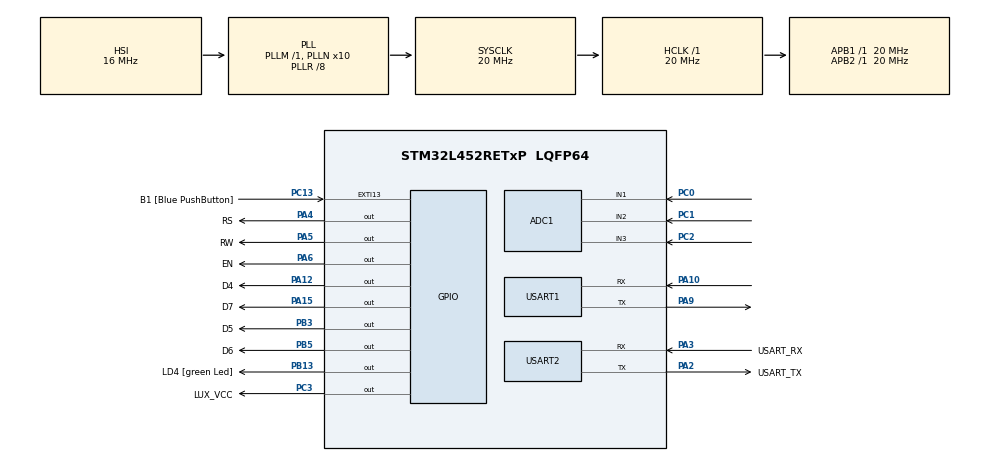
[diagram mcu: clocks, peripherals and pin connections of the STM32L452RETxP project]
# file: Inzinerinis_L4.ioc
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ADC1.Channel-0\#ChannelRegularConversion=ADC_CHANNEL_1
ADC1.Channel-3\#ChannelRegularConversion=ADC_CHANNEL_2
ADC1.Channel-4\#ChannelRegularConversion=ADC_CHANNEL_3
ADC1.DMAContinuousRequests=ENABLE
ADC1.EOCSelection=ADC_EOC_SEQ_CONV
ADC1.ExternalTrigConv=ADC_EXTERNALTRIG_T6_TRGO
ADC1.ExternalTrigConvEdge=ADC_EXTERNALTRIGCONVEDGE_RISING
ADC1.NbrOfConversion=3
ADC1.NbrOfConversionFlag=1
ADC1.OffsetNumber-0\#ChannelRegularConversion=ADC_OFFSET_NONE
ADC1.OffsetNumber-3\#ChannelRegularConversion=ADC_OFFSET_NONE
ADC1.OffsetNumber-4\#ChannelRegularConversion=ADC_OFFSET_NONE
ADC1.Overrun=ADC_OVR_DATA_OVERWRITTEN
ADC1.Rank-0\#ChannelRegularConversion=1
ADC1.Rank-3\#ChannelRegularConversion=2
ADC1.Rank-4\#ChannelRegularConversion=3
ADC1.SamplingTime-0\#ChannelRegularConversion=ADC_SAMPLETIME_12CYCLES_5
ADC1.SamplingTime-3\#ChannelRegularConversion=ADC_SAMPLETIME_12CYCLES_5
ADC1.SamplingTime-4\#ChannelRegularConversion=ADC_SAMPLETIME_12CYCLES_5
ADC1.master=1
Dma.ADC1.0.Direction=DMA_PERIPH_TO_MEMORY
Dma.ADC1.0.Instance=DMA1_Channel1
Dma.ADC1.0.MemDataAlignment=DMA_MDATAALIGN_HALFWORD
Dma.ADC1.0.MemInc=DMA_MINC_ENABLE
Dma.ADC1.0.Mode=DMA_CIRCULAR
Dma.ADC1.0.PeriphDataAlignment=DMA_PDATAALIGN_HALFWORD
Dma.ADC1.0.PeriphInc=DMA_PINC_DISABLE
Dma.ADC1.0.Priority=DMA_PRIORITY_LOW
Dma.Request0=ADC1
Mcu.Family=STM32L4
Mcu.Name=STM32L452RETxP
Mcu.Package=LQFP64
NVIC.ADC1_IRQn=true\:2\:0\:true\:false\:true\:true\:true\:true
NVIC.DMA1_Channel1_IRQn=true\:0\:0\:false\:false\:true\:false\:true\:true
NVIC.EXTI15_10_IRQn=true\:1\:0\:true\:false\:true\:true\:true\:true
NVIC.PriorityGroup=NVIC_PRIORITYGROUP_4
NVIC.TIM1_BRK_TIM15_IRQn=true\:2\:0\:true\:false\:true\:true\:true\:true
NVIC.USART1_IRQn=true\:0\:0\:false\:false\:true\:true\:true\:true
NVIC.USART2_IRQn=true\:0\:0\:false\:false\:true\:true\:true\:true
PA10.Mode=Asynchronous
PA10.Signal=USART1_RX
PA12.GPIO_Label=D4
PA12.GPIO_Speed=GPIO_SPEED_FREQ_HIGH
PA12.Signal=GPIO_Output
PA13\ (JTMS/SWDIO).GPIO_Label=TMS
PA13\ (JTMS/SWDIO).Mode=Serial_Wire
PA13\ (JTMS/SWDIO).Signal=SYS_JTMS-SWDIO
PA14\ (JTCK/SWCLK).GPIO_Label=TCK
PA14\ (JTCK/SWCLK).Mode=Serial_Wire
PA14\ (JTCK/SWCLK).Signal=SYS_JTCK-SWCLK
PA15\ (JTDI).GPIO_Label=D7
PA15\ (JTDI).GPIO_Speed=GPIO_SPEED_FREQ_HIGH
PA15\ (JTDI).Signal=GPIO_Output
PA2.GPIO_Label=USART_TX
PA2.GPIO_Mode=GPIO_MODE_AF_PP
PA2.GPIO_PuPd=GPIO_NOPULL
PA2.GPIO_Speed=GPIO_SPEED_FREQ_VERY_HIGH
PA2.Mode=Asynchronous
PA2.Signal=USART2_TX
PA3.GPIO_Label=USART_RX
PA3.GPIO_Mode=GPIO_MODE_AF_PP
PA3.GPIO_PuPd=GPIO_NOPULL
PA3.GPIO_Speed=GPIO_SPEED_FREQ_VERY_HIGH
PA3.Mode=Asynchronous
PA3.Signal=USART2_RX
PA4.GPIO_Label=RS
PA4.GPIO_Speed=GPIO_SPEED_FREQ_VERY_HIGH
PA4.Signal=GPIO_Output
PA5.GPIO_Label=RW
PA5.GPIO_Speed=GPIO_SPEED_FREQ_VERY_HIGH
PA5.Signal=GPIO_Output
PA6.GPIO_Label=EN
PA6.GPIO_Speed=GPIO_SPEED_FREQ_VERY_HIGH
PA6.Signal=GPIO_Output
PA9.Mode=Asynchronous
PA9.Signal=USART1_TX
PB13.GPIO_Label=LD4 [green Led]
PB13.Signal=GPIO_Output
PB3\ (JTDO/TRACESWO).GPIO_Label=D5
PB3\ (JTDO/TRACESWO).GPIO_Speed=GPIO_SPEED_FREQ_HIGH
PB3\ (JTDO/TRACESWO).Signal=GPIO_Output
PB5.GPIO_Label=D6
PB5.GPIO_Speed=GPIO_SPEED_FREQ_HIGH
PB5.Signal=GPIO_Output
PC0.Signal=ADCx_IN1
PC1.Signal=ADCx_IN2
PC13.GPIO_Label=B1 [Blue PushButton]
PC13.GPIO_ModeDefaultEXTI=GPIO_MODE_IT_FALLING
PC13.GPIO_PuPd=GPIO_NOPULL
PC13.Signal=GPXTI13
PC14-OSC32_IN\ (PC14).Mode=LSE-External-Oscillator
PC14-OSC32_IN\ (PC14).Signal=RCC_OSC32_IN
PC15-OSC32_OUT\ (PC15).Mode=LSE-External-Oscillator
PC15-OSC32_OUT\ (PC15).Signal=RCC_OSC32_OUT
PC2.Signal=ADCx_IN3
PC3.GPIO_Label=LUX_VCC
PC3.GPIO_PuPd=GPIO_NOPULL
PC3.Signal=GPIO_Output
PH0-OSC_IN\ (PH0).GPIO_Label=MCO
PH0-OSC_IN\ (PH0).Mode=HSE-External-Clock-Source
PH0-OSC_IN\ (PH0).Signal=RCC_OSC_IN
PH1-OSC_OUT\ (PH1).Signal=RCC_OSC_OUT
ProjectManager.HeapSize=0x200
ProjectManager.StackSize=0x400
ProjectManager.TargetToolchain=STM32CubeIDE
RCC.ADCFreq_Value=64000000
RCC.AHBFreq_Value=20000000
RCC.APB1Freq_Value=20000000
RCC.APB1TimFreq_Value=20000000
RCC.APB2Freq_Value=20000000
RCC.APB2TimFreq_Value=20000000
RCC.CortexFreq_Value=20000000
RCC.HCLKFreq_Value=20000000
RCC.HSE_VALUE=8000000
RCC.HSI48_VALUE=48000000
RCC.HSI_VALUE=16000000
RCC.MSI_VALUE=4000000
RCC.PLLN=10
RCC.PLLR=RCC_PLLR_DIV8
RCC.PLLSourceVirtual=RCC_PLLSOURCE_HSI
RCC.PREFETCH_ENABLE=1
RCC.SYSCLKFreq_VALUE=20000000
RCC.SYSCLKSource=RCC_SYSCLKSOURCE_PLLCLK
RCC.USBFreq_Value=64000000
RCC.VCOOutputFreq_Value=160000000
SH.ADCx_IN1.0=ADC1_IN1,IN1-Single-Ended
SH.ADCx_IN2.0=ADC1_IN2,IN2-Single-Ended
SH.ADCx_IN3.0=ADC1_IN3,IN3-Single-Ended
TIM15.Period=2000-1
TIM15.Prescaler=2000-1
TIM6.AutoReloadPreload=TIM_AUTORELOAD_PRELOAD_DISABLE
TIM6.Period=2500-1
TIM6.Prescaler=20-1
TIM6.TIM_MasterOutputTrigger=TIM_TRGO_UPDATE
USART1.VirtualMode-Asynchronous=VM_ASYNC
USART2.VirtualMode-Asynchronous=VM_ASYNC
VP_TIM15_VS_ClockSourceINT.Mode=Internal
VP_TIM6_VS_ClockSourceINT.Mode=Enable_Timer
board=NUCLEO-L452RE-P

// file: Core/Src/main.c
/* USER CODE BEGIN Header */
/**
  ******************************************************************************
  * @file           : main.c
  * @brief          : Main program body
  ******************************************************************************
  * @attention
  *
  * Copyright (c) 2025 STMicroelectronics.
  * All rights reserved.
  *
  * This software is licensed under terms that can be found in the LICENSE file
  * in the root directory of this software component.
  * If no LICENSE file comes with this software, it is provided AS-IS.
  *
  ******************************************************************************
  */
/* USER CODE END Header */
#include "main.h"
#include "adc.h"
#include "dma.h"
#include "tim.h"
#include "usart.h"
#include "gpio.h"

/* USER CODE BEGIN Includes */

#include <stdio.h>
#include "LCD_16x2_PARALLEL.h"
#include <string.h>

/* USER CODE END Includes */

/* USER CODE BEGIN PD */
#define NUM_OF_CHANNELS 3
#define ADC_BUFFER_SIZE 240
#define UART_BUFFER_SIZE 40
#define LCD_BUFFER_SIZE 32
#define UART_RX_SIZE 16

#define ADC_V_Step 8.05861e-4f

#define LCD_UPDATE_CNT 10

#define GAIN_RESISTANCE 820
#define DIODE_coefficient 2.5e6

#define SHOW_ABSOLUTE 1
#define SHOW_DIFFERENCE 0

volatile int TICK=0;
/* USER CODE END PD */

/* USER CODE BEGIN PV */
volatile uint16_t ADC_Samples[ADC_BUFFER_SIZE] = {0};

//AVERAGES
volatile float ADC_Voltages[NUM_OF_CHANNELS] = {0};
volatile double LUX_Values[NUM_OF_CHANNELS-1] = {0};
volatile double LUX_Difference;
volatile uint8_t pData_RX[UART_RX_SIZE] = {0};
char UART_data[UART_BUFFER_SIZE];

uint8_t ERROR_FLAG = 0;
volatile uint8_t LCD_SHOW_FLAG = 0;
volatile uint8_t UART_UPDATE_FLAG = 0;
volatile uint8_t ADC_CALC_AVG_FLAG = 0;
volatile uint8_t LCD_SHOW_TYPE = SHOW_ABSOLUTE;
volatile uint8_t LCD_CLEAR_ONCE = 0;
volatile uint8_t UART_SEND_FLAG = 0; // flag from PC to start UART data transmission

volatile uint8_t LCD_Delay_cnt;

char LCD_top_text[LCD_BUFFER_SIZE]="Starting...";
char LCD_bottom_text[LCD_BUFFER_SIZE]="LINUKS PABIRUKS";
/* USER CODE END PV */

void SystemClock_Config(void);
/* USER CODE BEGIN PFP */
double Voltage_to_lux(float Vadc);
void DELAY_US(uint16_t TIME_US);
/* USER CODE END PFP */

int main(void)
{

  /* MCU Configuration--------------------------------------------------------*/

  /* Reset of all peripherals, Initializes the Flash interface and the Systick. */
  HAL_Init();

  /* Configure the system clock */
  SystemClock_Config();

  /* USER CODE BEGIN SysInit */
  HAL_Delay(300);
  /* USER CODE END SysInit */

  /* Initialize all configured peripherals */
  MX_GPIO_Init();
  MX_DMA_Init();
  MX_TIM6_Init();
  MX_USART2_UART_Init();
  MX_ADC1_Init();
  MX_USART1_UART_Init();
  MX_TIM15_Init();
  /* USER CODE BEGIN 2 */

  if(HAL_ADCEx_Calibration_Start(&hadc1,ADC_SINGLE_ENDED) != HAL_OK)
  {
  	sprintf(LCD_top_text,"ERR CALIBRATION");
  	sprintf(LCD_bottom_text,"RESET MCU");
  	ERROR_FLAG = 1;
  }

  if(HAL_ADC_Start_DMA(&hadc1,(uint32_t*)ADC_Samples,ADC_BUFFER_SIZE) != HAL_OK)
  {
  	sprintf(LCD_top_text,"ERROR ADC");
  	sprintf(LCD_bottom_text,"RESET MCU");
  	ERROR_FLAG = 1;
  }

  if(HAL_TIM_Base_Start_IT(&htim15) != HAL_OK)
  {
  	sprintf(LCD_top_text,"DISPLAY TIM ERR");
  	sprintf(LCD_bottom_text,"RESET MCU");
  	ERROR_FLAG = 1;
  }

  if(HAL_TIM_Base_Start(&htim6) != HAL_OK)
  {
  	sprintf(LCD_top_text,"ERROR MAIN TIM");
  	sprintf(LCD_bottom_text,"RESET MCU");
  	ERROR_FLAG = 1;
  }
  //NEVEIKIA VCC is PIN, kodel??
  //HAL_GPIO_WritePin(LUX_VCC_GPIO_Port, LUX_VCC_Pin, GPIO_PIN_SET);// turn on LCD DATA transmission power
  LCD_Init();
  HAL_Delay(10);
  LCD_SEND_COMMAND(LCD_DISPLAY_OFF);
  HAL_Delay(10);
  LCD_CLEAR();
  HAL_Delay(10);
  LCD_CLEAR_DRAM();
  HAL_Delay(10);
  LCD_SEND_STR(LCD_top_text,0x3,0);
  LCD_SEND_STR(LCD_bottom_text,0,1);
  LCD_SEND_COMMAND(LCD_SET_DISPLAY_DEFAULT);
  HAL_Delay(2000);
  LCD_CLEAR();

  if(HAL_UARTEx_ReceiveToIdle_IT(&huart2, pData_RX, UART_RX_SIZE) != HAL_OK)
  {
  	sprintf(LCD_top_text,"ERROR UART");
  	sprintf(LCD_bottom_text,"CHECK CABLE");
  	ERROR_FLAG = 1;
  }

	if(ERROR_FLAG) Error_Handler();//REIKIA PALEISTI TAIMERI TIM6 PRIES ATVAIZDAVIMA, us delay
  /* USER CODE END 2 */

  /* Infinite loop */
  /* USER CODE BEGIN WHILE */
	uint32_t SUM[NUM_OF_CHANNELS] = {0};
  while (1)
  {
	  if(ADC_CALC_AVG_FLAG)
	  {
		  for(uint8_t x = 0;x<ADC_BUFFER_SIZE;x++)
		  {
			  SUM[x%3] += ADC_Samples[x];
		  }

		  for(uint8_t x = 0;x<NUM_OF_CHANNELS;x++)
		  {
			  SUM[x] /= (ADC_BUFFER_SIZE/NUM_OF_CHANNELS);
			  ADC_Voltages[x] = SUM[x]*ADC_V_Step;
			  LUX_Values[x] = Voltage_to_lux(ADC_Voltages[x]);
		  }
		  ADC_CALC_AVG_FLAG=0;
		  if(!LCD_SHOW_TYPE)
		  {
			  LUX_Difference = LUX_Values[0]-LUX_Values[1];
		  }
	  }
	  if(UART_UPDATE_FLAG && !ADC_CALC_AVG_FLAG)
	  {
		  if(LCD_SHOW_TYPE)
		  {
			  sprintf(UART_data, "CH1 value = %1.2f at %d ms\r\n",LUX_Values[0],(int)HAL_GetTick());
			  HAL_UART_Transmit(&huart2, (uint8_t*)UART_data, strlen(UART_data), 100);
			  sprintf(UART_data, "CH2 value = %1.2f at %d ms\r\n",LUX_Values[1],(int)HAL_GetTick());
			  HAL_UART_Transmit(&huart2, (uint8_t*)UART_data, strlen(UART_data), 100);
			  UART_UPDATE_FLAG = 0;
		  }
		  else
		  {
			  sprintf(UART_data, "CH1-CH2 value = %1.2f at %d ms\r\n",LUX_Difference,(int)HAL_GetTick());
			  HAL_UART_Transmit(&huart2, (uint8_t*)UART_data, strlen(UART_data), 100);
			  UART_UPDATE_FLAG = 0;
		  }
	  }

	  if(LCD_SHOW_FLAG && !ADC_CALC_AVG_FLAG)
	  {
		  if(LCD_SHOW_TYPE)
		  {
			  sprintf((char*)LCD_top_text,"CH1=%1.1f lx    ",LUX_Values[0]);
			  LCD_SEND_COMMAND(LCD_RETURN_HOME);
			  LCD_SEND_STR((char*)LCD_top_text, 0, 0);
			  sprintf((char*)LCD_bottom_text,"CH2=%1.1f lx    ",LUX_Values[1]);
			  LCD_SEND_STR((char*)LCD_bottom_text, 0, 1);
			  LCD_SHOW_FLAG = 0;
		  }
		  else
		  {
			  if(LCD_CLEAR_ONCE)
			  {
				  LCD_CLEAR_DRAM();
				  LCD_CLEAR_ONCE = 0;
				  sprintf((char*)LCD_top_text,"DIFFERENCE");
				  LCD_SEND_STR((char*)LCD_top_text, 3, 0);
				  sprintf((char*)LCD_bottom_text,"%1.1f lx",LUX_Difference);
				  LCD_SEND_STR((char*)LCD_bottom_text, ((16-(int)strlen(LCD_bottom_text))/2), 1);
				  LCD_SHOW_FLAG = 0;
			  }
			  else
			  {
				  sprintf((char*)LCD_bottom_text,"   %1.1f lx   ",LUX_Difference);
				  LCD_SEND_STR((char*)LCD_bottom_text, ((16-(int)strlen(LCD_bottom_text))/2), 1);
				  LCD_SHOW_FLAG = 0;
			  }
		  }
	  }
    /* USER CODE END WHILE */

  }
}

void SystemClock_Config(void)
{
  RCC_OscInitTypeDef RCC_OscInitStruct = {0};
  RCC_ClkInitTypeDef RCC_ClkInitStruct = {0};

  /** Configure the main internal regulator output voltage
  */
  if (HAL_PWREx_ControlVoltageScaling(PWR_REGULATOR_VOLTAGE_SCALE1) != HAL_OK)
  {
    Error_Handler();
  }

  /** Initializes the RCC Oscillators according to the specified parameters
  * in the RCC_OscInitTypeDef structure.
  */
  RCC_OscInitStruct.OscillatorType = RCC_OSCILLATORTYPE_HSI;
  RCC_OscInitStruct.HSIState = RCC_HSI_ON;
  RCC_OscInitStruct.HSICalibrationValue = 64;
  RCC_OscInitStruct.PLL.PLLState = RCC_PLL_ON;
  RCC_OscInitStruct.PLL.PLLSource = RCC_PLLSOURCE_HSI;
  RCC_OscInitStruct.PLL.PLLM = 1;
  RCC_OscInitStruct.PLL.PLLN = 10;
  RCC_OscInitStruct.PLL.PLLP = RCC_PLLP_DIV7;
  RCC_OscInitStruct.PLL.PLLQ = RCC_PLLQ_DIV2;
  RCC_OscInitStruct.PLL.PLLR = RCC_PLLR_DIV8;
  if (HAL_RCC_OscConfig(&RCC_OscInitStruct) != HAL_OK)
  {
    Error_Handler();
  }

  /** Initializes the CPU, AHB and APB buses clocks
  */
  RCC_ClkInitStruct.ClockType = RCC_CLOCKTYPE_HCLK|RCC_CLOCKTYPE_SYSCLK
                              |RCC_CLOCKTYPE_PCLK1|RCC_CLOCKTYPE_PCLK2;
  RCC_ClkInitStruct.SYSCLKSource = RCC_SYSCLKSOURCE_PLLCLK;
  RCC_ClkInitStruct.AHBCLKDivider = RCC_SYSCLK_DIV1;
  RCC_ClkInitStruct.APB1CLKDivider = RCC_HCLK_DIV1;
  RCC_ClkInitStruct.APB2CLKDivider = RCC_HCLK_DIV1;

  if (HAL_RCC_ClockConfig(&RCC_ClkInitStruct, FLASH_LATENCY_1) != HAL_OK)
  {
    Error_Handler();
  }
}

/* USER CODE BEGIN 4 */

//	void HAL_ADC_ConvCpltCallback(ADC_HandleTypeDef *hadc)
//	{
//
//	}

	double Voltage_to_lux(float Vadc)
	{
		// Vdda maitinimas operacinio Vadc nuskaityta isejimo reiksme
		volatile  double Current=0;
		static double LUX=0;

		//GAIN RES 820 k DIODE_COEF 2.5 e9, galima rodiklius suprastinti per 3
		Current = Vadc/GAIN_RESISTANCE;
		LUX = (double)(DIODE_coefficient*Current);
		return LUX;
	}

	void DELAY_US(uint16_t TIME_US)
	{
	    uint32_t old_timer_value = TIM6->CNT;
	    uint32_t target_time = (old_timer_value + TIME_US) % (TIM6->ARR + 1);

	    if (target_time < old_timer_value)  // Handle timer overflow
	    {
	        while (TIM6->CNT >= old_timer_value);  // Wait for overflow
	    }

	    while (TIM6->CNT < target_time);  // Wait until target time is reached
	}
	void HAL_TIM_PeriodElapsedCallback(TIM_HandleTypeDef *htim)
	{
	if(htim == &htim15)
	{
		UART_UPDATE_FLAG = 1;
		ADC_CALC_AVG_FLAG = 1;
		if(LCD_Delay_cnt<LCD_UPDATE_CNT) LCD_Delay_cnt++;
		else
		{
			LCD_Delay_cnt %=LCD_UPDATE_CNT;
			LCD_SHOW_FLAG = 1;
		}
	}
	}
	void HAL_GPIO_EXTI_Callback(uint16_t GPIO_Pin)
	{
		if(GPIO_Pin == B1_Pin)
		{
			LCD_SHOW_FLAG = 1;
			ADC_CALC_AVG_FLAG = 1;
			UART_UPDATE_FLAG = 1;
			LCD_CLEAR_ONCE = 1;
			if(LCD_SHOW_TYPE) LCD_SHOW_TYPE = SHOW_DIFFERENCE;
			else LCD_SHOW_TYPE = SHOW_ABSOLUTE;
		}
		for(uint8_t x = 0;x<UART_BUFFER_SIZE;x++)
		{
			UART_data[x] = '\0';
		}
		for(uint8_t x = 0;x<LCD_BUFFER_SIZE;x++)
		{
			LCD_top_text[x] = ' ';
			LCD_bottom_text[x] = ' ';
		}
	}

	void HAL_UARTEx_RxEventCallback(UART_HandleTypeDef *huart, uint16_t Size)
	{
		char Start_string[] = "Start\r\n";
		char Stop_string[] = "Stop\r\n";
		if(huart == &huart2)
		{
			if(Size == strlen(Start_string) && strncmp(Start_string,(char*)pData_RX,Size)==0)
			{
				UART_SEND_FLAG = 1;
			}
			else if(Size == strlen(Stop_string) && strncmp(Stop_string,(char*)pData_RX,Size)==0)
			{
				UART_SEND_FLAG = 0;
			}
		}
		HAL_UARTEx_ReceiveToIdle_IT(&huart2, pData_RX, UART_RX_SIZE);// See more Start and stop flags
	}
/* USER CODE END 4 */

void Error_Handler(void)
{
  /* USER CODE BEGIN Error_Handler_Debug */
  /* User can add his own implementation to report the HAL error return state */
	LCD_Init();
	HAL_Delay(2);
	LCD_SEND_STR(LCD_top_text,0,0);
	LCD_SEND_STR(LCD_bottom_text,0,1);
	while (1)
	{
		HAL_GPIO_TogglePin(LD4_GPIO_Port, LD4_Pin);
		HAL_Delay(200);
	}
  __disable_irq();
  /* USER CODE END Error_Handler_Debug */
}
